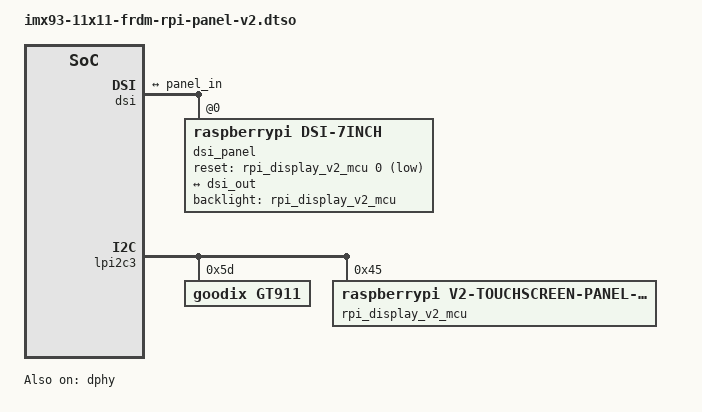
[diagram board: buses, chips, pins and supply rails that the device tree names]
// SPDX-License-Identifier: (GPL-2.0+ OR MIT)
/*
 * Copyright 2025 Wig Cheng <onlywig@gmail.com>
 */

#include <dt-bindings/gpio/gpio.h>

/dts-v1/;
/plugin/;

&dphy {
	status = "okay";
};

&dsi {
	status = "okay";

	ports {
		port@1 {
			reg = <1>;
			dsi_out: endpoint {
				remote-endpoint = <&panel_in>;
			};
		};
	};

	dsi_panel: dsi_panel@0 {
		reg = <0>;
		compatible = "raspberrypi,dsi-7inch";
		reset-gpio = <&rpi_display_v2_mcu 0 GPIO_ACTIVE_LOW>;
		backlight = <&rpi_display_v2_mcu>;

		port {
			panel_in: endpoint {
				remote-endpoint = <&dsi_out>;
			};
		};
	};
};

&ldb {
	status = "disabled";
};

&ldb_phy {
	status = "disabled";
};

&lpi2c1 {
	#address-cells = <1>;
	#size-cells = <0>;

	lvds_bridge: lvds-to-hdmi-bridge@4c {
		status = "disabled";
	};
};

&lpi2c3 {
	#address-cells = <1>;
	#size-cells = <0>;

	gt911: gt911@5d {
		compatible = "goodix,gt911";
		reg = <0x5d>;
		touchscreen-size-x = <720>;
		touchscreen-size-y = <1280>;
		touchscreen-x-mm = <90>;
		touchscreen-y-mm = <151>;
	};


	rpi_display_v2_mcu: rpi_display_v2_mcu@45
	{
		compatible = "raspberrypi,v2-touchscreen-panel-regulator";
		reg = <0x45>;
		gpio-controller;
		#gpio-cells = <2>;

		touch-reg-hog {
			gpio-hog;
			gpios = <1 GPIO_ACTIVE_HIGH>;
			output-high;
		};
	};
};
